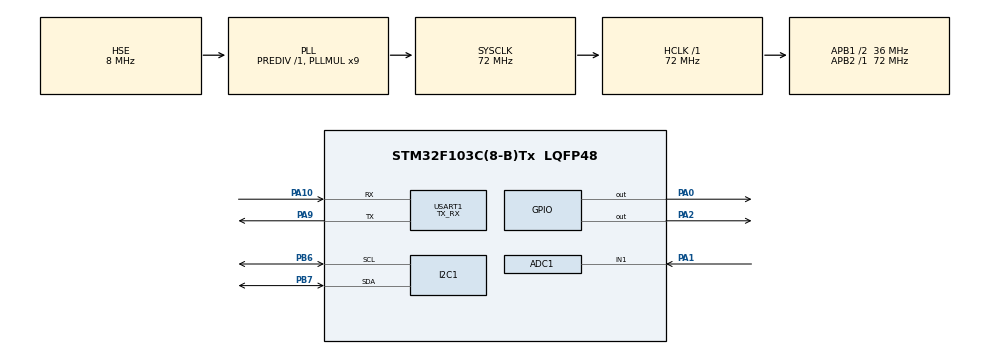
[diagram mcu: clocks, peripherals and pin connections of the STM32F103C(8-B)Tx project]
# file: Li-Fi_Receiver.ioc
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Mcu.Family=STM32F1
RCC.PLLSourceVirtual=RCC_PLLSOURCE_HSE
PD1-OSC_OUT.Mode=HSE-External-Oscillator
PA10.Mode=Asynchronous
PD0-OSC_IN.Signal=RCC_OSC_IN
RCC.APB1CLKDivider=RCC_HCLK_DIV2
RCC.SYSCLKSource=RCC_SYSCLKSOURCE_PLLCLK
ProjectManager.StackSize=0x400
PA0-WKUP.Signal=GPIO_Output
PD1-OSC_OUT.Signal=RCC_OSC_OUT
RCC.ADCPresc=RCC_ADCPCLK2_DIV6
PA13.Signal=SYS_JTMS-SWDIO
PA9.Mode=Asynchronous
USART1.StopBits=STOPBITS_1
ProjectManager.TargetToolchain=STM32CubeIDE
I2C1.I2C_Mode=I2C_Fast
ADC1.Channel-3\#ChannelRegularConversion=ADC_CHANNEL_1
RCC.HCLKFreq_Value=72000000
RCC.APB2TimFreq_Value=72000000
PA9.Signal=USART1_TX
USART1.Parity=PARITY_NONE
PB6.Signal=I2C1_SCL
PB6.Mode=I2C
RCC.USBFreq_Value=72000000
PA1.Signal=ADCx_IN1
RCC.AHBFreq_Value=72000000
PD0-OSC_IN.Mode=HSE-External-Oscillator
board=custom
RCC.PLLMUL=RCC_PLL_MUL9
RCC.APB2Freq_Value=72000000
USART1.Mode=MODE_TX_RX
PA14.Mode=Serial_Wire
PB7.Signal=I2C1_SDA
PA13.Mode=Serial_Wire
Mcu.Name=STM32F103C(8-B)Tx
PA2.Signal=GPIO_Output
RCC.SYSCLKFreq_VALUE=72000000
Mcu.Package=LQFP48
ADC1.master=1
ADC1.Rank-3\#ChannelRegularConversion=1
ADC1.SamplingTime-3\#ChannelRegularConversion=ADC_SAMPLETIME_1CYCLE_5
RCC.EnbaleCSS=true
USART1.VirtualMode=VM_ASYNC
PB7.Mode=I2C
PA10.Signal=USART1_RX
PA14.Signal=SYS_JTCK-SWCLK
ProjectManager.HeapSize=0x200
NVIC.PriorityGroup=NVIC_PRIORITYGROUP_4
ADC1.NbrOfConversionFlag=1
SH.ADCx_IN1.0=ADC1_IN1,IN1
RCC.APB1TimFreq_Value=72000000
NVIC.USART1_IRQn=true\:0\:0\:false\:false\:true\:true\:true
RCC.APB1Freq_Value=36000000

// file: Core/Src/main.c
/* USER CODE BEGIN Header */
/**
  ******************************************************************************
  * @file           : main.c (Receiver)
  * @brief          : Receiver Main program body
  ******************************************************************************
  * @attention
  *
  * <h2><center>&copy; Copyright (c) 2021 STMicroelectronics.
  * All rights reserved.</center></h2>
  *
  * This software component is licensed by ST under BSD 3-Clause license,
  * the "License"; You may not use this file except in compliance with the
  * License. You may obtain a copy of the License at:
  *                        opensource.org/licenses/BSD-3-Clause
  *
  ******************************************************************************
  */
/* USER CODE END Header */
#include "main.h"

/* USER CODE BEGIN Includes */
#include "string.h"
#include "i2c-lcd.h"
/* USER CODE END Includes */

ADC_HandleTypeDef hadc1;

I2C_HandleTypeDef hi2c1;

UART_HandleTypeDef huart1;

/* USER CODE BEGIN PV */
uint8_t buffer[10];

char* messages[10] = {"      NO MESSAGE", "           SLOW!", "           STOP!", "          GO ON!", "       GIVE WAY!", "ATTN: AMBULANCE!", " ATTN: FOGGY WX!", " ATTN: ICE ROAD!"};

int x = -2;
/* USER CODE END PV */

void SystemClock_Config(void);
static void MX_GPIO_Init(void);
static void MX_USART1_UART_Init(void);
static void MX_I2C1_Init(void);
static void MX_ADC1_Init(void);
/* USER CODE BEGIN PFP */
void LCD_PrintMessage(char* str);
/* USER CODE END PFP */

int main(void)
{

  /* MCU Configuration--------------------------------------------------------*/

  /* Reset of all peripherals, Initializes the Flash interface and the Systick. */
  HAL_Init();

  /* Configure the system clock */
  SystemClock_Config();

  /* Initialize all configured peripherals */
  MX_GPIO_Init();
  MX_USART1_UART_Init();
  MX_I2C1_Init();
  MX_ADC1_Init();
  /* USER CODE BEGIN 2 */

  HAL_Delay(2000);

  HAL_UART_Transmit(&huart1, (uint8_t *)"\nLi-Fi Receiver | Yetkin Akyuz\n", strlen("\nLi-Fi Receiver | Yetkin Akyuz\n"), HAL_MAX_DELAY);

  lcd_init();

  lcd_put_cur(0,0);
  lcd_send_string("V2V SERIAL      ");
  lcd_put_cur(1,0);
  lcd_send_string("   COMMUNICATION");

  HAL_Delay(1500);

  lcd_put_cur(0,0);
  lcd_send_string("WITH            ");
  lcd_put_cur(1,0);
  lcd_send_string("  LIGHT FIDELITY");

  HAL_Delay(1500);

  lcd_put_cur(0,0);
  lcd_send_string("BY YETKIN AKYUZ ");
  lcd_put_cur(1,0);
  lcd_send_string(" yetkinakyuz.com");

  HAL_Delay(2000);

  lcd_clear();

  lcd_put_cur(0,0);
  lcd_send_string("RX STATUS:      ");
  HAL_Delay(500);
  lcd_put_cur(1,0);
  lcd_send_string("       ACTIVATED");

  HAL_UART_Transmit(&huart1, (uint8_t *)"\nSTATUS: RECEIVER IS ACTIVE\n", strlen("\nSTATUS: RECEIVER IS ACTIVE\n"), HAL_MAX_DELAY);

  HAL_Delay(3000);

  lcd_clear();

  /* USER CODE END 2 */

  /* Infinite loop */
  /* USER CODE BEGIN WHILE */
  while (1)
  {
	HAL_UART_Receive_IT(&huart1, (uint8_t *)&buffer, 1);

	if(x != -2 && x != -1)
	{
		HAL_GPIO_WritePin(GPIOA, GPIO_PIN_0, 1);

		HAL_UART_Transmit(&huart1, (uint8_t *)"\nSTATUS: MESSAGE RECEIVED: ", strlen("\nSTATUS: MESSAGE RECEIVED: "), HAL_MAX_DELAY);
		HAL_UART_Transmit(&huart1, (uint8_t *)messages[x], strlen(messages[x]), HAL_MAX_DELAY);

		LCD_PrintMessage(messages[x]);

		HAL_GPIO_WritePin(GPIOA, GPIO_PIN_0, 0);

		x = -2;
	}
  }
    /* USER CODE END WHILE */

}

void SystemClock_Config(void)
{
  RCC_OscInitTypeDef RCC_OscInitStruct = {0};
  RCC_ClkInitTypeDef RCC_ClkInitStruct = {0};
  RCC_PeriphCLKInitTypeDef PeriphClkInit = {0};

  /** Initializes the RCC Oscillators according to the specified parameters
  * in the RCC_OscInitTypeDef structure.
  */
  RCC_OscInitStruct.OscillatorType = RCC_OSCILLATORTYPE_HSE;
  RCC_OscInitStruct.HSEState = RCC_HSE_ON;
  RCC_OscInitStruct.HSEPredivValue = RCC_HSE_PREDIV_DIV1;
  RCC_OscInitStruct.HSIState = RCC_HSI_ON;
  RCC_OscInitStruct.PLL.PLLState = RCC_PLL_ON;
  RCC_OscInitStruct.PLL.PLLSource = RCC_PLLSOURCE_HSE;
  RCC_OscInitStruct.PLL.PLLMUL = RCC_PLL_MUL9;
  if (HAL_RCC_OscConfig(&RCC_OscInitStruct) != HAL_OK)
  {
    Error_Handler();
  }
  /** Initializes the CPU, AHB and APB buses clocks
  */
  RCC_ClkInitStruct.ClockType = RCC_CLOCKTYPE_HCLK|RCC_CLOCKTYPE_SYSCLK
                              |RCC_CLOCKTYPE_PCLK1|RCC_CLOCKTYPE_PCLK2;
  RCC_ClkInitStruct.SYSCLKSource = RCC_SYSCLKSOURCE_PLLCLK;
  RCC_ClkInitStruct.AHBCLKDivider = RCC_SYSCLK_DIV1;
  RCC_ClkInitStruct.APB1CLKDivider = RCC_HCLK_DIV2;
  RCC_ClkInitStruct.APB2CLKDivider = RCC_HCLK_DIV1;

  if (HAL_RCC_ClockConfig(&RCC_ClkInitStruct, FLASH_LATENCY_2) != HAL_OK)
  {
    Error_Handler();
  }
  PeriphClkInit.PeriphClockSelection = RCC_PERIPHCLK_ADC;
  PeriphClkInit.AdcClockSelection = RCC_ADCPCLK2_DIV6;
  if (HAL_RCCEx_PeriphCLKConfig(&PeriphClkInit) != HAL_OK)
  {
    Error_Handler();
  }
  /** Enables the Clock Security System
  */
  HAL_RCC_EnableCSS();
}

static void MX_ADC1_Init(void)
{

  ADC_ChannelConfTypeDef sConfig = {0};

  /** Common config
  */
  hadc1.Instance = ADC1;
  hadc1.Init.ScanConvMode = ADC_SCAN_DISABLE;
  hadc1.Init.ContinuousConvMode = DISABLE;
  hadc1.Init.DiscontinuousConvMode = DISABLE;
  hadc1.Init.ExternalTrigConv = ADC_SOFTWARE_START;
  hadc1.Init.DataAlign = ADC_DATAALIGN_RIGHT;
  hadc1.Init.NbrOfConversion = 1;
  if (HAL_ADC_Init(&hadc1) != HAL_OK)
  {
    Error_Handler();
  }
  /** Configure Regular Channel
  */
  sConfig.Channel = ADC_CHANNEL_1;
  sConfig.Rank = ADC_REGULAR_RANK_1;
  sConfig.SamplingTime = ADC_SAMPLETIME_1CYCLE_5;
  if (HAL_ADC_ConfigChannel(&hadc1, &sConfig) != HAL_OK)
  {
    Error_Handler();
  }

}

static void MX_I2C1_Init(void)
{

  hi2c1.Instance = I2C1;
  hi2c1.Init.ClockSpeed = 400000;
  hi2c1.Init.DutyCycle = I2C_DUTYCYCLE_2;
  hi2c1.Init.OwnAddress1 = 0;
  hi2c1.Init.AddressingMode = I2C_ADDRESSINGMODE_7BIT;
  hi2c1.Init.DualAddressMode = I2C_DUALADDRESS_DISABLE;
  hi2c1.Init.OwnAddress2 = 0;
  hi2c1.Init.GeneralCallMode = I2C_GENERALCALL_DISABLE;
  hi2c1.Init.NoStretchMode = I2C_NOSTRETCH_DISABLE;
  if (HAL_I2C_Init(&hi2c1) != HAL_OK)
  {
    Error_Handler();
  }

}

static void MX_USART1_UART_Init(void)
{

  huart1.Instance = USART1;
  huart1.Init.BaudRate = 115200;
  huart1.Init.WordLength = UART_WORDLENGTH_8B;
  huart1.Init.StopBits = UART_STOPBITS_1;
  huart1.Init.Parity = UART_PARITY_NONE;
  huart1.Init.Mode = UART_MODE_TX_RX;
  huart1.Init.HwFlowCtl = UART_HWCONTROL_NONE;
  huart1.Init.OverSampling = UART_OVERSAMPLING_16;
  if (HAL_UART_Init(&huart1) != HAL_OK)
  {
    Error_Handler();
  }

}

static void MX_GPIO_Init(void)
{
  GPIO_InitTypeDef GPIO_InitStruct = {0};

  /* GPIO Ports Clock Enable */
  __HAL_RCC_GPIOD_CLK_ENABLE();
  __HAL_RCC_GPIOA_CLK_ENABLE();
  __HAL_RCC_GPIOB_CLK_ENABLE();

  /*Configure GPIO pin Output Level */
  HAL_GPIO_WritePin(GPIOA, GPIO_PIN_0|GPIO_PIN_2, GPIO_PIN_RESET);

  /*Configure GPIO pins : PA0 PA2 */
  GPIO_InitStruct.Pin = GPIO_PIN_0|GPIO_PIN_2;
  GPIO_InitStruct.Mode = GPIO_MODE_OUTPUT_PP;
  GPIO_InitStruct.Pull = GPIO_NOPULL;
  GPIO_InitStruct.Speed = GPIO_SPEED_FREQ_LOW;
  HAL_GPIO_Init(GPIOA, &GPIO_InitStruct);

}

/* USER CODE BEGIN 4 */
void LCD_PrintMessage(char* str)
{
	lcd_put_cur(0,0);
	lcd_send_string("MESSAGE:        ");

	lcd_put_cur(1,0);
	lcd_send_string (str);
}

void HAL_UART_RxCpltCallback(UART_HandleTypeDef *huart)
{

    HAL_UART_Receive_IT(&huart1, (uint8_t *)&buffer, 1);

    switch(*buffer)
    {
		case '_':

			x = 1;

			break;

		case '|':

			x = 2;

			break;

		case '@':

			x = 3;

			break;

		case '#':

			x = 4;

			break;

		case '*':

			x = 5;

			break;
    }
}

void HAL_UART_TxCpltCallback(UART_HandleTypeDef *huart)
{
	__NOP();
}

/* USER CODE END 4 */

void Error_Handler(void)
{
  __disable_irq();
  while (1)
  {
  }
}

/************************ (C) COPYRIGHT STMicroelectronics *****END OF FILE****/
